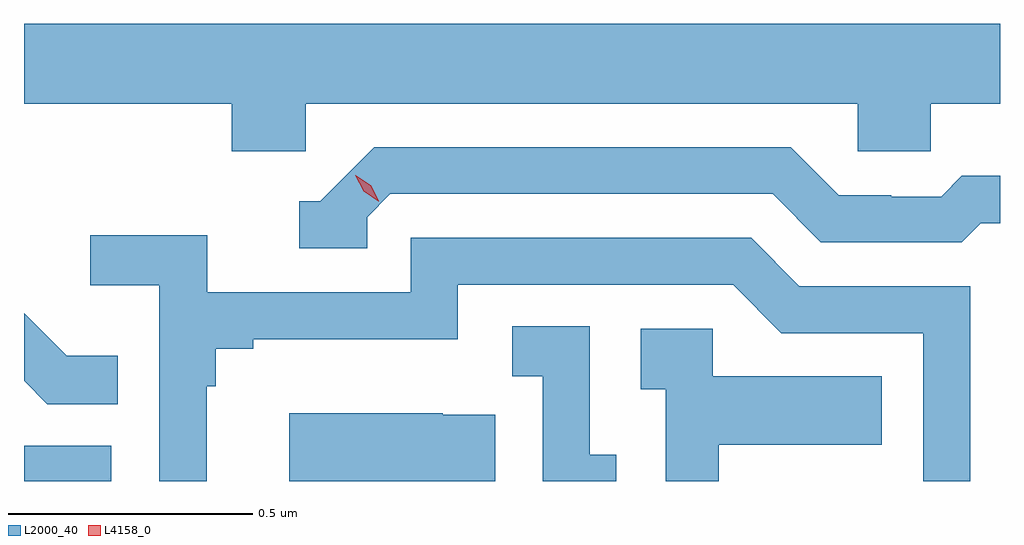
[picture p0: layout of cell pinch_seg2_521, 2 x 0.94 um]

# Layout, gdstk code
import gdstk
lib = gdstk.Library(unit=1e-6, precision=1e-09)
def R(c, l, rs):  # rectangles x0, y0, x1, y1
    for r in rs: c.add(gdstk.rectangle(r[:2], r[2:], *l))
def P(c, l, *ps):  # polygons
    for p in ps: c.add(gdstk.Polygon(p, *l))
L2000_40 = (2000, 40)
L4158_0 = (4158, 0)

pinch_seg2_521 = lib.new_cell('pinch_seg2_521')
R(pinch_seg2_521, L2000_40, [(1000.931,588.254,1001.11,588.327)])
P(pinch_seg2_521, L2000_40, [(1001.508,589.028),(1002.639,589.028),(1002.639,588.93),(1002.789,588.93),(1002.789,589.028),(1002.931,589.028),(1002.931,589.192),(1000.931,589.192),(1000.931,589.028),(1001.357,589.028),(1001.357,588.93),(1001.508,588.93)],
  [(1001.634,588.795),(1001.682,588.843),(1002.465,588.843),(1002.564,588.744),(1002.853,588.744),(1002.892,588.783),(1002.931,588.783),(1002.931,588.88),(1002.853,588.88),(1002.811,588.837),(1002.708,588.837),(1002.708,588.84),(1002.601,588.84),(1002.502,588.939),(1001.649,588.939),(1001.538,588.828),(1001.495,588.828),(1001.495,588.732),(1001.634,588.732)],
  [(1001.305,588.449),(1001.324,588.449),(1001.324,588.526),(1001.401,588.526),(1001.401,588.545),(1001.82,588.545),(1001.82,588.657),(1002.384,588.657),(1002.483,588.558),(1002.774,588.558),(1002.774,588.254),(1002.87,588.254),(1002.87,588.654),(1002.52,588.654),(1002.421,588.753),(1001.724,588.753),(1001.724,588.642),(1001.306,588.642),(1001.306,588.758),(1001.067,588.758),(1001.067,588.656),(1001.208,588.656),(1001.208,588.254),(1001.305,588.254)],
  [(1001.123,588.511),(1001.019,588.511),(1000.931,588.599),(1000.931,588.46),(1000.979,588.412),(1001.123,588.412)],
  [(1002.145,588.309),(1002.09,588.309),(1002.09,588.572),(1001.931,588.572),(1001.931,588.469),(1001.994,588.469),(1001.994,588.254),(1002.145,588.254)],
  [(1002.355,588.329),(1002.689,588.329),(1002.689,588.469),(1002.342,588.469),(1002.342,588.567),(1002.195,588.567),(1002.195,588.443),(1002.246,588.443),(1002.246,588.254),(1002.355,588.254)],
  [(1001.897,588.391),(1001.789,588.391),(1001.789,588.394),(1001.475,588.394),(1001.475,588.254),(1001.897,588.254)])
P(pinch_seg2_521, L4158_0, [(1001.657,588.828),(1001.627,588.848),(1001.61,588.881),(1001.61,588.881),(1001.611,588.881),(1001.642,588.861),(1001.658,588.829),(1001.658,588.828)])

lib.write_gds('pinch_seg2_521.gds')
